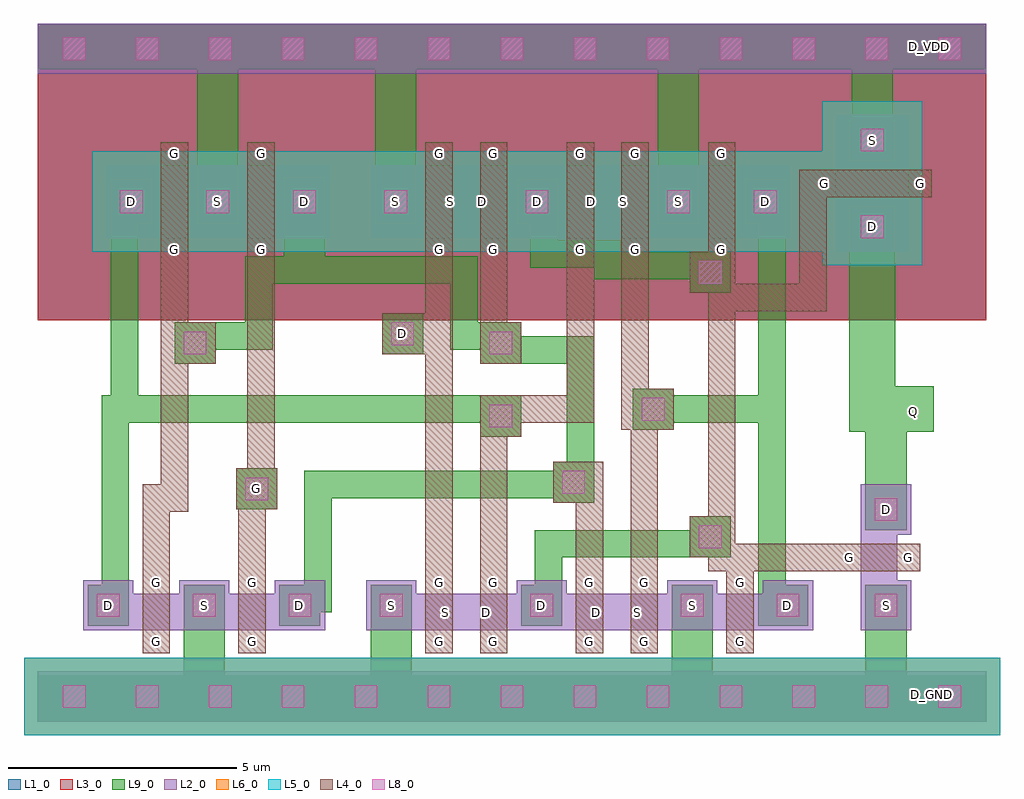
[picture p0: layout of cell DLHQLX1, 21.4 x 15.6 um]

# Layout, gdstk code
import gdstk
lib = gdstk.Library(unit=1e-6, precision=1e-09)
def R(c, l, rs):  # rectangles x0, y0, x1, y1
    for r in rs: c.add(gdstk.rectangle(r[:2], r[2:], *l))
def A(c, l, x, y, w, h, nx, ny, dx, dy):  # array of equal rectangles
    R(c, l, [(x+i*dx, y+j*dy, x+i*dx+w, y+j*dy+h) for i in range(nx) for j in range(ny)])
def P(c, l, *ps):  # polygons
    for p in ps: c.add(gdstk.Polygon(p, *l))
L1_0 = (1, 0)
L2_0 = (2, 0)
L3_0 = (3, 0)
L4_0 = (4, 0)
L5_0 = (5, 0)
L6_0 = (6, 0)
L8_0 = (8, 0)
L9_0 = (9, 0)

dlhqlx1 = lib.new_cell('DLHQLX1')
A(dlhqlx1, L1_0, 0, 8.8, 1.6, 6.5, 13, 1, 1.6, 0)
R(dlhqlx1, L1_0, [(16,8.8,20.6,14.8), (0,9.1,6,13.7), (1.9,9.1,7.9,13.7), (5.8,9.1,11.8,13.7), (7,9.1,13,13.7), (8.9,9.1,14.9,13.7), (10.1,9.1,16.1,13.7), (12,9.1,18,13.7)])
A(dlhqlx1, L2_0, 0, 0, 1.6, 1.1, 13, 2, 1.6, 14.2)
R(dlhqlx1, L2_0, [(1,2,2.1,3.1), (2.1,2,3.1,2.8), (3.1,2,4.2,3.1), (3.1,2,4.2,3.1), (4.2,2,5.2,2.8), (5.2,2,6.3,3.1), (7.2,2,8.3,3.1), (8.3,2,9.3,2.8), (8.4,2,9.5,2.8), (9.3,2,10.4,2.8), (9.5,2,10.5,2.8), (10.5,2,11.6,3.1), (10.5,2,11.6,3.1), (11.6,2,12.6,2.8), (11.7,2,12.8,2.8), (12.6,2,13.7,2.8), (12.8,2,13.8,2.8), (13.8,2,14.9,3.1), (13.8,2,14.9,3.1), (14.9,2,15.9,2.8), (15.9,2,17,3.1), (18.05,2,19.15,3.1), (18.05,3.1,18.85,4.1), (18.05,4.1,19.15,5.2), (17.5,10.3,19.1,11.4), (1.5,10.6,2.6,12.2), (2.6,10.6,3.4,12.2), (3.4,10.6,4.5,12.2), (3.4,10.6,4.5,12.2), (4.5,10.6,5.3,12.2), (5.3,10.6,6.4,12.2), (7.3,10.6,8.4,12.2), (8.4,10.6,9.2,12.2), (8.5,10.6,9.6,12.2), (9.2,10.6,10.3,12.2), (9.6,10.6,10.4,12.2), (10.4,10.6,11.5,12.2), (10.4,10.6,11.5,12.2), (11.5,10.6,12.3,12.2), (11.6,10.6,12.7,12.2), (12.3,10.6,13.4,12.2), (12.7,10.6,13.5,12.2), (13.5,10.6,14.6,12.2), (13.5,10.6,14.6,12.2), (14.6,10.6,15.4,12.2), (15.4,10.6,16.5,12.2), (17.5,11.4,19.1,12.2), (17.5,12.2,19.1,13.3)])
A(dlhqlx1, L3_0, 0, 8.8, 1.6, 6.5, 13, 1, 1.6, 0)
R(dlhqlx1, L3_0, [(16,8.8,20.6,14.8), (0,9.1,6,13.7), (1.9,9.1,7.9,13.7), (5.8,9.1,11.8,13.7), (7,9.1,13,13.7), (8.9,9.1,14.9,13.7), (10.1,9.1,16.1,13.7), (12,9.1,18,13.7)])
R(dlhqlx1, L4_0, [(2.3,1.5,2.9,3.3), (2.3,1.5,2.9,2), (4.4,1.5,5,3.3), (4.4,1.5,5,2), (8.5,1.5,9.1,3.3), (8.5,1.5,9.1,2), (9.7,1.5,10.3,3.3), (9.7,1.5,10.3,2), (11.8,1.5,12.4,3.3), (11.8,1.5,12.4,2), (13,1.5,13.6,3.3), (13,1.5,13.6,2), (15.1,1.5,15.7,3.3), (15.1,1.5,15.7,2), (8.5,2.5,9.1,10.3), (2.3,2.8,2.9,3.3), (2.3,2.8,2.9,5.2), (4.4,2.8,5,3.3), (8.5,2.8,9.1,3.3), (9.7,2.8,10.3,3.3), (11.8,2.8,12.4,3.3), (13,2.8,13.6,3.3), (15.1,2.8,15.7,3.3), (4.4,3.3,5,4.65), (13,3.3,13.6,7.3), (17.55,3.3,18.05,3.9), (17.55,3.3,19.35,3.9), (18.85,3.3,19.35,3.9), (14.3,3.6,15.2,4.5), (4.35,4.65,5.25,5.55), (11.3,4.8,12.2,5.7), (4.6,5.55,5.2,10.1), (9.7,6.25,10.6,7.15), (12.8,6.4,13.4,9.45), (13.05,6.4,13.95,7.3), (3,7.85,3.9,8.75), (9.7,7.85,10.6,8.75), (7.55,8.05,8.45,8.95), (8.45,8.05,8.55,8.95), (9.7,8.45,10.3,10.8), (11.6,9.4,12.2,10.65), (14.3,9.4,15.2,10.3), (12.8,9.45,13.4,10.4), (12.8,9.75,13.4,10.7), (2.7,10.1,3.3,10.6), (2.7,10.1,3.3,12.7), (4.6,10.1,5.2,10.6), (4.6,10.1,5.2,12.7), (8.5,10.1,9.1,10.6), (8.5,10.1,9.1,12.7), (9.7,10.1,10.3,10.6), (9.7,10.1,10.3,12.7), (11.6,10.1,12.2,10.6), (11.6,10.1,12.2,12.7), (12.8,10.1,13.4,10.6), (12.8,10.1,13.4,12.7), (14.7,10.1,15.3,10.6), (14.7,10.1,15.3,12.7), (17,11.5,19.6,12.1), (17,11.5,17.5,12.1), (19.1,11.5,19.6,12.1), (2.7,12.2,3.3,12.7), (4.6,12.2,5.2,12.7), (8.5,12.2,9.1,12.7), (9.7,12.2,10.3,12.7), (11.6,12.2,12.2,12.7), (12.8,12.2,13.4,12.7), (14.7,12.2,15.3,12.7)])
P(dlhqlx1, L4_0, [(14.7,3.3),(15.1,3.3),(15.1,2.5),(15.7,2.5),(15.7,3.3),(19.35,3.3),(19.35,3.9),(15.3,3.9),(15.3,9),(17.3,9),(17.3,12.1),(16.7,12.1),(16.7,9.6),(15.3,9.6),(15.3,10.3),(14.7,10.3)],
  [(2.4,4.6),(3.3,4.6),(3.3,10.1),(2.7,10.1),(2.7,5.2),(2.4,5.2)],
  [(11.4,5.1),(11.8,5.1),(11.8,2.5),(12.4,2.5),(12.4,5.7),(11.4,5.7)],
  [(9.7,3.3),(10.3,3.3),(10.3,6.55),(12.2,6.55),(12.2,9.4),(11.6,9.4),(11.6,7.15),(9.7,7.15)])
A(dlhqlx1, L5_0, 1.6, -0.3, 1.6, 1.7, 11, 1, 1.6, 0)
R(dlhqlx1, L5_0, [(-0.3,-0.3,1.6,1.4), (19.2,-0.3,21.1,1.4), (17.2,10,19.4,13.6), (1.2,10.3,4.8,12.5), (3.1,10.3,6.7,12.5), (6.4,10.3,7.25,12.5), (7,10.3,10.6,12.5), (8.2,10.3,11.8,12.5), (10.1,10.3,13.7,12.5), (11.3,10.3,14.9,12.5), (13.2,10.3,16.8,12.5), (16.4,10.3,17.45,12.5)])
A(dlhqlx1, L6_0, 1.6, -0.3, 1.6, 1.7, 11, 1, 1.6, 0)
R(dlhqlx1, L6_0, [(-0.3,-0.3,1.6,1.4), (19.2,-0.3,21.1,1.4), (17.2,10,19.4,13.6), (1.2,10.3,4.8,12.5), (3.1,10.3,6.7,12.5), (6.2,10.3,7.35,12.5), (7,10.3,10.6,12.5), (8.2,10.3,11.8,12.5), (10.1,10.3,13.7,12.5), (11.3,10.3,14.9,12.5), (13.2,10.3,16.8,12.5), (16.4,10.3,17.45,12.5)])
A(dlhqlx1, L8_0, 0.55, 0.3, 0.5, 0.5, 13, 2, 1.6, 14.2)
R(dlhqlx1, L8_0, [(1.3,2.3,1.8,2.8), (3.4,2.3,3.9,2.8), (3.4,2.3,3.9,2.8), (5.5,2.3,6,2.8), (7.5,2.3,8,2.8), (10.8,2.3,11.3,2.8), (10.8,2.3,11.3,2.8), (14.1,2.3,14.6,2.8), (14.1,2.3,14.6,2.8), (16.2,2.3,16.7,2.8), (18.35,2.3,18.85,2.8), (14.5,3.8,15,4.3), (18.35,4.4,18.85,4.9), (4.55,4.85,5.05,5.35), (11.5,5,12,5.5), (9.9,6.45,10.4,6.95), (13.25,6.6,13.75,7.1), (3.2,8.05,3.7,8.55), (9.9,8.05,10.4,8.55), (7.75,8.25,8.25,8.75), (14.5,9.6,15,10.1), (18.05,10.6,18.55,11.1), (1.8,11.15,2.3,11.65), (3.7,11.15,4.2,11.65), (3.7,11.15,4.2,11.65), (5.6,11.15,6.1,11.65), (7.6,11.15,8.1,11.65), (10.7,11.15,11.2,11.65), (10.7,11.15,11.2,11.65), (13.8,11.15,14.3,11.65), (13.8,11.15,14.3,11.65), (15.7,11.15,16.2,11.65), (18.05,12.5,18.55,13)])
A(dlhqlx1, L9_0, 0, 0, 1.6, 1, 13, 2, 1.6, 14.3)
R(dlhqlx1, L9_0, [(7.3,0,8.2,3), (13.9,0,14.8,3), (18.15,0,19.05,3), (19.3,0.3,19.9,0.9), (1.1,2.1,2,3), (3.2,2.1,4.1,3), (3.2,2.1,4.1,3), (5.3,2.1,6.2,3), (7.3,2.1,8.2,3), (10.6,2.1,11.5,3), (10.6,2.1,11.5,3), (13.9,2.1,14.8,3), (13.9,2.1,14.8,3), (15.8,2.1,16.4,10.9), (16,2.1,16.9,3), (18.15,2.1,19.05,3), (14.3,3.6,15.2,4.5), (18.15,4.2,19.05,5.1), (4.35,4.65,5.25,5.55), (4.5,4.8,5.1,5.4), (11.3,4.8,12.2,5.7), (11.6,5.1,12.2,8.2), (9.7,6.25,10.6,7.15), (18.75,6.35,19.65,7.25), (13.05,6.4,13.95,7.3), (1.6,6.55,2.2,11.5), (1.6,6.55,10.3,7.15), (13.15,6.55,16.35,7.15), (3,7.85,3.9,8.75), (9.7,7.85,10.6,8.75), (9.75,7.85,12.2,8.45), (7.55,8.05,8.45,8.95), (7.7,8.2,8.3,8.8), (14.3,9.4,15.2,10.3), (5.4,9.6,6.3,11.95), (17.8,10.4,18.8,11.3), (1.6,10.9,2.5,11.9), (3.5,10.9,4.4,11.9), (3.5,10.9,4.4,11.9), (5.4,10.9,6.3,11.9), (7.4,10.9,8.3,11.9), (10.5,10.9,11.4,11.9), (10.5,10.9,11.4,11.9), (13.6,10.9,14.5,11.9), (13.6,10.9,14.5,11.9), (15.5,10.9,16.4,11.9), (3.5,11,4.4,15.2), (17.8,12.3,18.8,13.2), (17.85,12.3,18.75,15.2), (19.25,14.5,19.85,15.1)])
P(dlhqlx1, L9_0, [(10.9,2.4),(11.5,2.4),(11.5,3.6),(15.2,3.6),(15.2,4.2),(10.9,4.2)],
  [(3,8.15),(5.15,8.15),(5.15,9.6),(9.05,9.6),(9.05,8.15),(10.3,8.15),(10.3,8.75),(9.65,8.75),(9.65,10.2),(4.55,10.2),(4.55,8.75),(3,8.75)],
  [(1.4,2.4),(2,2.4),(2,6.55),(2.2,6.55),(2.2,7.15),(1.4,7.15)],
  [(17.8,6.35),(19.65,6.35),(19.65,7.35),(18.8,7.35),(18.8,11.3),(17.8,11.3)],
  [(7.4,11),(8.3,11),(8.3,14.3),(8.9,14.3),(8.9,15.2),(7.4,15.2)],
  [(5.6,2.4),(6.45,2.4),(6.45,4.9),(11.9,4.9),(11.9,5.5),(5.85,5.5),(5.85,3),(5.6,3)],
  [(13.6,11),(14.5,11),(14.5,14.3),(15.3,14.3),(15.3,15.2),(13.6,15.2)],
  [(10.8,9.95),(12.2,9.95),(12.2,9.7),(15.1,9.7),(15.1,10.3),(12.8,10.3),(12.8,10.55),(11.4,10.55),(11.4,11.5),(10.8,11.5)],
  [(2.3,0.1),(4.1,0.1),(4.1,3),(3.2,3),(3.2,1),(2.3,1)],
  [(18.15,4.2),(19.05,4.2),(19.05,6.35),(19.65,6.35),(19.65,7.25),(18.15,7.25)])
dlhqlx1.add(gdstk.Label('G', (12.1,1.752), layer=4, texttype=0))
dlhqlx1.add(gdstk.Label('G', (12.1,3.052), layer=4, texttype=0))
dlhqlx1.add(gdstk.Label('S', (13.151,2.401), layer=2, texttype=0))
dlhqlx1.add(gdstk.Label('D', (11.051,2.551), layer=9, texttype=0))
dlhqlx1.add(gdstk.Label('D', (12.251,2.401), layer=2, texttype=0))
dlhqlx1.add(gdstk.Label('G', (13.3,1.752), layer=4, texttype=0))
dlhqlx1.add(gdstk.Label('G', (13.3,3.052), layer=4, texttype=0))
dlhqlx1.add(gdstk.Label('S', (14.351,2.551), layer=9, texttype=0))
dlhqlx1.add(gdstk.Label('G', (10,1.752), layer=4, texttype=0))
dlhqlx1.add(gdstk.Label('G', (10,3.052), layer=4, texttype=0))
dlhqlx1.add(gdstk.Label('S', (8.949,2.401), layer=2, texttype=0))
dlhqlx1.add(gdstk.Label('D', (11.049,2.551), layer=9, texttype=0))
dlhqlx1.add(gdstk.Label('D', (9.849,2.401), layer=2, texttype=0))
dlhqlx1.add(gdstk.Label('G', (8.8,1.752), layer=4, texttype=0))
dlhqlx1.add(gdstk.Label('G', (8.8,3.052), layer=4, texttype=0))
dlhqlx1.add(gdstk.Label('S', (7.749,2.551), layer=9, texttype=0))
dlhqlx1.add(gdstk.Label('G', (13.1,10.352), layer=4, texttype=0))
dlhqlx1.add(gdstk.Label('G', (13.1,12.452), layer=4, texttype=0))
dlhqlx1.add(gdstk.Label('S', (14.051,11.401), layer=9, texttype=0))
dlhqlx1.add(gdstk.Label('D', (12.151,11.401), layer=2, texttype=0))
dlhqlx1.add(gdstk.Label('G', (11.9,10.352), layer=4, texttype=0))
dlhqlx1.add(gdstk.Label('G', (11.9,12.452), layer=4, texttype=0))
dlhqlx1.add(gdstk.Label('S', (12.851,11.401), layer=2, texttype=0))
dlhqlx1.add(gdstk.Label('D', (10.951,11.401), layer=9, texttype=0))
dlhqlx1.add(gdstk.Label('G', (10,10.352), layer=4, texttype=0))
dlhqlx1.add(gdstk.Label('G', (10,12.452), layer=4, texttype=0))
dlhqlx1.add(gdstk.Label('S', (9.049,11.401), layer=2, texttype=0))
dlhqlx1.add(gdstk.Label('D', (10.949,11.401), layer=9, texttype=0))
dlhqlx1.add(gdstk.Label('G', (8.8,10.352), layer=4, texttype=0))
dlhqlx1.add(gdstk.Label('G', (8.8,12.452), layer=4, texttype=0))
dlhqlx1.add(gdstk.Label('S', (7.849,11.401), layer=9, texttype=0))
dlhqlx1.add(gdstk.Label('D', (9.749,11.401), layer=2, texttype=0))
dlhqlx1.add(gdstk.Label('G', (15,10.352), layer=4, texttype=0))
dlhqlx1.add(gdstk.Label('G', (15,12.452), layer=4, texttype=0))
dlhqlx1.add(gdstk.Label('S', (14.049,11.401), layer=9, texttype=0))
dlhqlx1.add(gdstk.Label('D', (15.949,11.401), layer=9, texttype=0))
dlhqlx1.add(gdstk.Label('G', (19.348,11.8), layer=4, texttype=0))
dlhqlx1.add(gdstk.Label('G', (17.248,11.8), layer=4, texttype=0))
dlhqlx1.add(gdstk.Label('S', (18.299,12.751), layer=9, texttype=0))
dlhqlx1.add(gdstk.Label('D', (18.299,10.851), layer=9, texttype=0))
dlhqlx1.add(gdstk.Label('G', (15.4,1.752), layer=4, texttype=0))
dlhqlx1.add(gdstk.Label('G', (15.4,3.052), layer=4, texttype=0))
dlhqlx1.add(gdstk.Label('S', (14.349,2.551), layer=9, texttype=0))
dlhqlx1.add(gdstk.Label('D', (16.449,2.551), layer=9, texttype=0))
dlhqlx1.add(gdstk.Label('G', (17.802,3.6), layer=4, texttype=0))
dlhqlx1.add(gdstk.Label('G', (19.102,3.6), layer=4, texttype=0))
dlhqlx1.add(gdstk.Label('S', (18.601,2.549), layer=9, texttype=0))
dlhqlx1.add(gdstk.Label('D', (18.601,4.649), layer=9, texttype=0))
dlhqlx1.add(gdstk.Label('G', (3,10.352), layer=4, texttype=0))
dlhqlx1.add(gdstk.Label('G', (3,12.452), layer=4, texttype=0))
dlhqlx1.add(gdstk.Label('S', (3.951,11.401), layer=9, texttype=0))
dlhqlx1.add(gdstk.Label('D', (2.051,11.401), layer=9, texttype=0))
dlhqlx1.add(gdstk.Label('G', (4.9,10.352), layer=4, texttype=0))
dlhqlx1.add(gdstk.Label('G', (4.9,12.452), layer=4, texttype=0))
dlhqlx1.add(gdstk.Label('S', (3.949,11.401), layer=9, texttype=0))
dlhqlx1.add(gdstk.Label('D', (5.849,11.401), layer=9, texttype=0))
dlhqlx1.add(gdstk.Label('G', (4.7,1.752), layer=4, texttype=0))
dlhqlx1.add(gdstk.Label('G', (4.7,3.052), layer=4, texttype=0))
dlhqlx1.add(gdstk.Label('S', (3.649,2.551), layer=9, texttype=0))
dlhqlx1.add(gdstk.Label('D', (5.749,2.551), layer=9, texttype=0))
dlhqlx1.add(gdstk.Label('G', (2.6,1.752), layer=4, texttype=0))
dlhqlx1.add(gdstk.Label('G', (2.6,3.052), layer=4, texttype=0))
dlhqlx1.add(gdstk.Label('S', (3.651,2.551), layer=9, texttype=0))
dlhqlx1.add(gdstk.Label('D', (1.551,2.551), layer=9, texttype=0))
dlhqlx1.add(gdstk.Label('D_VDD', (19.55,14.8), layer=50, texttype=0))
dlhqlx1.add(gdstk.Label('G', (4.8,5.1), layer=50, texttype=0))
dlhqlx1.add(gdstk.Label('D_GND', (19.6,0.6), layer=50, texttype=0))
dlhqlx1.add(gdstk.Label('Q', (19.2,6.8), layer=50, texttype=0))
dlhqlx1.add(gdstk.Label('D', (8,8.5), layer=50, texttype=0))

lib.write_gds('DLHQLX1.gds')
